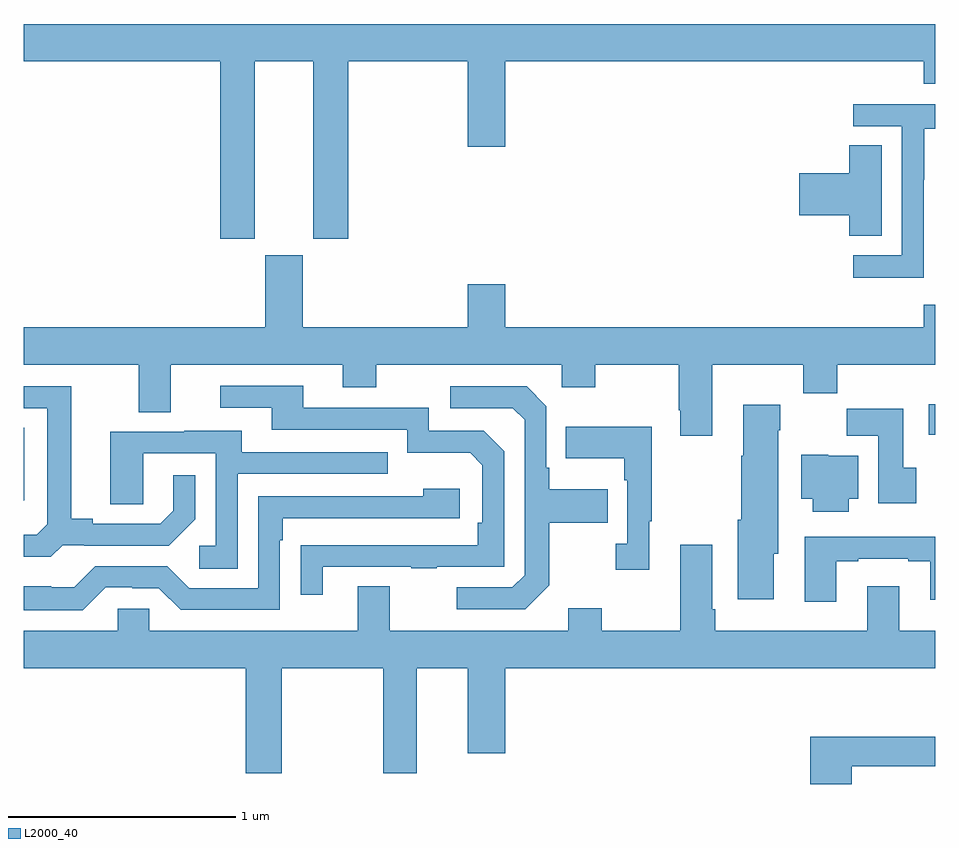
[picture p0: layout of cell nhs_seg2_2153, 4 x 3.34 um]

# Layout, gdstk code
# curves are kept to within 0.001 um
import gdstk
lib = gdstk.Library(unit=1e-6, precision=1e-09)
def R(c, l, rs):  # rectangles x0, y0, x1, y1
    for r in rs: c.add(gdstk.rectangle(r[:2], r[2:], *l))
def P(c, l, *ps):  # polygons
    for p in ps: c.add(gdstk.Polygon(p, *l))
L2000_40 = (2000, 40)

nhs_seg2_2153 = lib.new_cell('nhs_seg2_2153')
R(nhs_seg2_2153, L2000_40, [(226.971,643.334,227,643.468)])
P(nhs_seg2_2153, L2000_40, [(224.014,644.972),(224.27,644.972),(224.27,644.193),(224.423,644.193),(224.423,644.972),(224.948,644.972),(224.948,644.598),(225.112,644.598),(225.112,644.972),(226.949,644.972),(226.949,644.873),(227,644.873),(227,645.136),(223,645.136),(223,644.972),(223.862,644.972),(223.862,644.193),(224.014,644.193)],
  [(226.95,644.452),(226.953,644.452),(226.953,644.676),(227,644.676),(227,644.784),(226.641,644.784),(226.641,644.688),(226.854,644.688),(226.854,644.121),(226.641,644.121),(226.641,644.023),(226.95,644.023)],
  [(226.765,644.603),(226.622,644.603),(226.622,644.48),(226.404,644.48),(226.404,644.297),(226.622,644.297),(226.622,644.206),(226.765,644.206)],
  [(226.021,643.64),(226.42,643.64),(226.42,643.516),(226.571,643.516),(226.571,643.64),(227,643.64),(227,643.903),(226.949,643.903),(226.949,643.804),(225.112,643.804),(225.112,643.993),(224.948,643.993),(224.948,643.804),(224.224,643.804),(224.224,644.121),(224.06,644.121),(224.06,643.804),(223,643.804),(223,643.64),(223.505,643.64),(223.505,643.432),(223.645,643.432),(223.645,643.64),(224.399,643.64),(224.399,643.541),(224.547,643.541),(224.547,643.64),(225.36,643.64),(225.36,643.541),(225.507,643.541),(225.507,643.64),(225.874,643.64),(225.874,643.441),(225.881,643.441),(225.881,643.329),(226.021,643.329)],
  [(224.311,642.753),(224.701,642.753),(224.701,642.748),(224.813,642.748),(224.813,642.753),(225.108,642.753),(225.108,643.26),(225.018,643.35),(224.778,643.35),(224.778,643.452),(224.227,643.452),(224.227,643.548),(223.863,643.548),(223.863,643.452),(224.087,643.452),(224.087,643.356),(224.682,643.356),(224.682,643.253),(224.959,643.253),(225.012,643.2),(225.012,642.946),(224.992,642.946),(224.992,642.849),(224.215,642.848),(224.215,642.63),(224.311,642.63)],
  [(223.17,642.849),(223.264,642.849),(223.264,642.846),(223.636,642.846),(223.752,642.962),(223.752,643.156),(223.655,643.156),(223.655,642.999),(223.598,642.942),(223.303,642.942),(223.303,642.965),(223.207,642.965),(223.207,643.545),(223,643.545),(223,643.449),(223.103,643.449),(223.103,642.941),(223.056,642.894),(223,642.894),(223,642.797),(223.118,642.797)],
  [(225.307,642.673),(225.307,642.946),(225.563,642.946),(225.563,643.093),(225.307,643.093),(225.307,643.189),(225.294,643.189),(225.294,643.458),(225.207,643.545),(224.871,643.545),(224.871,643.449),(225.147,643.449),(225.198,643.398),(225.198,642.717),(225.144,642.663),(224.901,642.663),(224.901,642.567),(225.201,642.567)],
  [(226.291,642.81),(226.312,642.81),(226.312,643.352),(226.32,643.352),(226.32,643.465),(226.157,643.465),(226.157,643.241),(226.15,643.241),(226.15,642.96),(226.133,642.96),(226.133,642.612),(226.291,642.612)],
  [(226.918,643.188),(226.861,643.188),(226.861,643.447),(226.612,643.447),(226.612,643.328),(226.751,643.328),(226.751,643.032),(226.918,643.032)],
  [(225.745,642.953),(225.757,642.953),(225.757,643.369),(225.379,643.369),(225.379,643.229),(225.636,643.229),(225.636,643.133),(225.648,643.133),(225.648,642.854),(225.597,642.854),(225.597,642.741),(225.745,642.741)],
  [(223.002,643.046),(223.002,643.364),(223,643.364),(223,643.044)],
  [(223.938,643.161),(224.597,643.161),(224.597,643.257),(223.957,643.257),(223.957,643.351),(223.703,643.351),(223.703,643.347),(223.379,643.347),(223.379,643.027),(223.524,643.027),(223.524,643.251),(223.842,643.251),(223.842,642.846),(223.77,642.846),(223.77,642.745),(223.938,642.745)],
  [(226.621,643.052),(226.663,643.052),(226.663,643.24),(226.53,643.24),(226.53,643.246),(226.412,643.246),(226.412,643.052),(226.463,643.052),(226.463,642.995),(226.621,642.995)],
  [(223.359,642.663),(223.475,642.663),(223.475,642.66),(223.593,642.66),(223.689,642.564),(224.124,642.564),(224.124,642.869),(224.137,642.869),(224.137,642.966),(224.914,642.966),(224.914,643.096),(224.753,643.096),(224.753,643.062),(224.028,643.062),(224.028,642.66),(223.725,642.66),(223.629,642.756),(223.314,642.756),(223.221,642.663),(223.121,642.663),(223.121,642.667),(223,642.667),(223,642.563),(223.259,642.563)],
  [(226.567,642.777),(226.663,642.777),(226.663,642.789),(226.883,642.789),(226.883,642.777),(226.979,642.777),(226.979,642.608),(227,642.608),(227,642.886),(226.427,642.886),(226.427,642.6),(226.567,642.6)],
  [(224.133,642.308),(224.578,642.308),(224.578,641.847),(224.725,641.847),(224.725,642.308),(224.948,642.308),(224.948,641.934),(225.112,641.934),(225.112,642.308),(227,642.308),(227,642.472),(226.843,642.472),(226.843,642.667),(226.703,642.667),(226.703,642.472),(226.034,642.472),(226.034,642.568),(226.021,642.568),(226.021,642.85),(225.881,642.85),(225.881,642.472),(225.537,642.472),(225.537,642.571),(225.389,642.571),(225.389,642.472),(224.605,642.472),(224.605,642.667),(224.465,642.667),(224.465,642.472),(223.551,642.472),(223.551,642.57),(223.413,642.57),(223.413,642.472),(223,642.472),(223,642.308),(223.973,642.308),(223.973,641.847),(224.133,641.847)],
  [(226.634,641.878),(227,641.878),(227,642.007),(226.451,642.007),(226.451,641.8),(226.634,641.8)])

lib.write_gds('nhs_seg2_2153.gds')
